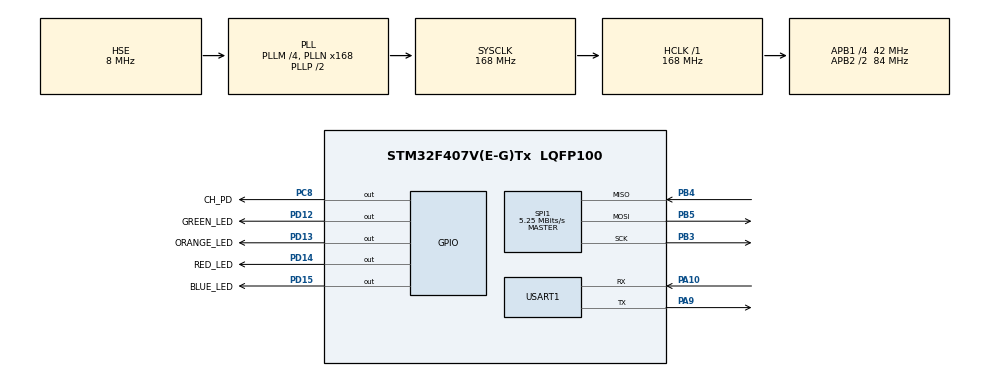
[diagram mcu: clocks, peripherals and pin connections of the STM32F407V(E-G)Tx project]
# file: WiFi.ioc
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Mcu.Family=STM32F4
Mcu.Name=STM32F407V(E-G)Tx
Mcu.Package=LQFP100
NVIC.PriorityGroup=NVIC_PRIORITYGROUP_4
NVIC.SPI1_IRQn=true\:0\:0\:false\:false\:true\:true\:true
NVIC.USART1_IRQn=true\:0\:0\:false\:false\:true\:true\:true
PA10.Mode=Asynchronous
PA10.Signal=USART1_RX
PA9.Mode=Asynchronous
PA9.Signal=USART1_TX
PB3.Mode=Full_Duplex_Master
PB3.Signal=SPI1_SCK
PB4.Mode=Full_Duplex_Master
PB4.Signal=SPI1_MISO
PB5.Mode=Full_Duplex_Master
PB5.Signal=SPI1_MOSI
PC8.GPIO_Label=CH_PD
PC8.PinState=GPIO_PIN_SET
PC8.Signal=GPIO_Output
PD12.GPIO_Label=GREEN_LED
PD12.Signal=GPIO_Output
PD13.GPIO_Label=ORANGE_LED
PD13.Signal=GPIO_Output
PD14.GPIO_Label=RED_LED
PD14.Signal=GPIO_Output
PD15.GPIO_Label=BLUE_LED
PD15.PinState=GPIO_PIN_SET
PD15.Signal=GPIO_Output
PH0-OSC_IN.Mode=HSE-External-Oscillator
PH0-OSC_IN.Signal=RCC_OSC_IN
PH1-OSC_OUT.Mode=HSE-External-Oscillator
PH1-OSC_OUT.Signal=RCC_OSC_OUT
ProjectManager.HeapSize=0x200
ProjectManager.StackSize=0x400
ProjectManager.TargetToolchain=STM32CubeIDE
RCC.48MHZClocksFreq_Value=84000000
RCC.AHBFreq_Value=168000000
RCC.APB1CLKDivider=RCC_HCLK_DIV4
RCC.APB1Freq_Value=42000000
RCC.APB1TimFreq_Value=84000000
RCC.APB2CLKDivider=RCC_HCLK_DIV2
RCC.APB2Freq_Value=84000000
RCC.APB2TimFreq_Value=168000000
RCC.CortexFreq_Value=168000000
RCC.HCLKFreq_Value=168000000
RCC.HSE_VALUE=8000000
RCC.HSI_VALUE=16000000
RCC.LSE_VALUE=32768
RCC.PLLM=4
RCC.PLLN=168
RCC.PLLSourceVirtual=RCC_PLLSOURCE_HSE
RCC.SYSCLKFreq_VALUE=168000000
RCC.SYSCLKSource=RCC_SYSCLKSOURCE_PLLCLK
RCC.VCOOutputFreq_Value=336000000
SPI1.BaudRatePrescaler=SPI_BAUDRATEPRESCALER_16
SPI1.CalculateBaudRate=5.25 MBits/s
SPI1.Direction=SPI_DIRECTION_2LINES
SPI1.Mode=SPI_MODE_MASTER
SPI1.VirtualType=VM_MASTER
USART1.VirtualMode=VM_ASYNC
board=custom

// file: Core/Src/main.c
/* USER CODE BEGIN Header */
/**
  ******************************************************************************
  * @file           : main.c
  * @brief          : Main program body
  ******************************************************************************
  * @attention
  *
  * <h2><center>&copy; Copyright (c) 2020 STMicroelectronics.
  * All rights reserved.</center></h2>
  *
  * This software component is licensed by ST under BSD 3-Clause license,
  * the "License"; You may not use this file except in compliance with the
  * License. You may obtain a copy of the License at:
  *                        opensource.org/licenses/BSD-3-Clause
  *
  ******************************************************************************
  */
/* USER CODE END Header */

#include "main.h"

/* USER CODE BEGIN Includes */
#include "ff.h"
#include "string.h"
/* USER CODE END Includes */

SPI_HandleTypeDef hspi1;

UART_HandleTypeDef huart1;

/* USER CODE BEGIN PV */
char esp_recieve [1024];
uint16_t recieve_lenght = 0;
/* USER CODE END PV */

void SystemClock_Config(void);
static void MX_GPIO_Init(void);
static void MX_USART1_UART_Init(void);
static void MX_SPI1_Init(void);
/* USER CODE BEGIN PFP */
void HAL_UART_RxCpltCallback(UART_HandleTypeDef * huart)
{
	if(huart->Instance == USART1)
	{
		//TODO obsługa odebranych wiadomości
	}
}

/* USER CODE END PFP */

/* USER CODE BEGIN 0 */
//Wysyłanie wiadomości do modułu ESP poprzez interfejs UART
void send_message(UART_HandleTypeDef * huart, char * message)
{
	HAL_UART_Transmit_IT(huart, message, 100);
	HAL_UART_Transmit_IT(huart, "\r\n", 100);

}
void read_message (UART_HandleTypeDef * huart, char * buffer, uint16_t buffer_size)
{
	//TODO funkcja odbierająca linię tekstu
}
uint8_t esp_send_cmd(UART_HandleTypeDef * huart, char * command)
{
 char response[30]; // w response będzie zapisywana odpowiedź od modułu - z przerwania uart
 response[0]= '\0';
 send_message(huart, command);  // wysyłanie wiadomości
 while(strcmp(response, "OK") != 0   // sprawdzenie jaka jest odpowiedź
		 && strcmp(response, "no change") != 0
		 && strcmp(response, "ERROR")!=0)
	 read_message(huart, response, 30);
 if(strcmp(response, "ERROR")==0) return 0;
 else return 1;
}

uint8_t configure_esp()
{
	HAL_Delay(1000);

	if (!esp_send_cmd(&huart1, "AT+CWMODE=1"))
		return 0;
	if (!esp_send_cmd(&huart1, "AT+CWJAP=\"HUAWEI-2.4G-zJ52\",\"...\""))
		return 0;
	if (!esp_send_cmd(&huart1, "AT+CIPMUX=1"))
		return 0;
	if (!esp_send_cmd(&huart1, "AT+CIPSERVER=1,80"))
		return 0;

	return 1;
}
/* USER CODE END 0 */

int main(void)
{
  /* USER CODE BEGIN 1 */
	if (configure_esp())  //Jeśli uruchomi się bez problemów, to włącz obsługę przerwań UART
	{
		HAL_UART_Receive_IT(&huart1, esp_recieve,1);
	}
	else
		HAL_GPIO_WritePin(GPIOD, GPIO_PIN_15, 1);
  /* USER CODE END 1 */

  /* MCU Configuration--------------------------------------------------------*/

  /* Reset of all peripherals, Initializes the Flash interface and the Systick. */
  HAL_Init();

  /* Configure the system clock */
  SystemClock_Config();

  /* Initialize all configured peripherals */
  MX_GPIO_Init();
  MX_USART1_UART_Init();
  MX_SPI1_Init();

  /* Infinite loop */
  while (1)
  {

    /* USER CODE BEGIN 3 */
	  //HAL_GPIO_WritePin(GPIOD, GPIO_PIN_12, 1);
  }
  /* USER CODE END 3 */
}

void SystemClock_Config(void)
{
  RCC_OscInitTypeDef RCC_OscInitStruct = {0};
  RCC_ClkInitTypeDef RCC_ClkInitStruct = {0};

  /** Configure the main internal regulator output voltage
  */
  __HAL_RCC_PWR_CLK_ENABLE();
  __HAL_PWR_VOLTAGESCALING_CONFIG(PWR_REGULATOR_VOLTAGE_SCALE1);
  /** Initializes the CPU, AHB and APB busses clocks
  */
  RCC_OscInitStruct.OscillatorType = RCC_OSCILLATORTYPE_HSE;
  RCC_OscInitStruct.HSEState = RCC_HSE_ON;
  RCC_OscInitStruct.PLL.PLLState = RCC_PLL_ON;
  RCC_OscInitStruct.PLL.PLLSource = RCC_PLLSOURCE_HSE;
  RCC_OscInitStruct.PLL.PLLM = 4;
  RCC_OscInitStruct.PLL.PLLN = 168;
  RCC_OscInitStruct.PLL.PLLP = RCC_PLLP_DIV2;
  RCC_OscInitStruct.PLL.PLLQ = 4;
  if (HAL_RCC_OscConfig(&RCC_OscInitStruct) != HAL_OK)
  {
    Error_Handler();
  }
  /** Initializes the CPU, AHB and APB busses clocks
  */
  RCC_ClkInitStruct.ClockType = RCC_CLOCKTYPE_HCLK|RCC_CLOCKTYPE_SYSCLK
                              |RCC_CLOCKTYPE_PCLK1|RCC_CLOCKTYPE_PCLK2;
  RCC_ClkInitStruct.SYSCLKSource = RCC_SYSCLKSOURCE_PLLCLK;
  RCC_ClkInitStruct.AHBCLKDivider = RCC_SYSCLK_DIV1;
  RCC_ClkInitStruct.APB1CLKDivider = RCC_HCLK_DIV4;
  RCC_ClkInitStruct.APB2CLKDivider = RCC_HCLK_DIV2;

  if (HAL_RCC_ClockConfig(&RCC_ClkInitStruct, FLASH_LATENCY_5) != HAL_OK)
  {
    Error_Handler();
  }
}

static void MX_SPI1_Init(void)
{

  /* SPI1 parameter configuration*/
  hspi1.Instance = SPI1;
  hspi1.Init.Mode = SPI_MODE_MASTER;
  hspi1.Init.Direction = SPI_DIRECTION_2LINES;
  hspi1.Init.DataSize = SPI_DATASIZE_8BIT;
  hspi1.Init.CLKPolarity = SPI_POLARITY_LOW;
  hspi1.Init.CLKPhase = SPI_PHASE_1EDGE;
  hspi1.Init.NSS = SPI_NSS_SOFT;
  hspi1.Init.BaudRatePrescaler = SPI_BAUDRATEPRESCALER_16;
  hspi1.Init.FirstBit = SPI_FIRSTBIT_MSB;
  hspi1.Init.TIMode = SPI_TIMODE_DISABLE;
  hspi1.Init.CRCCalculation = SPI_CRCCALCULATION_DISABLE;
  hspi1.Init.CRCPolynomial = 10;
  if (HAL_SPI_Init(&hspi1) != HAL_OK)
  {
    Error_Handler();
  }

}

static void MX_USART1_UART_Init(void)
{

  huart1.Instance = USART1;
  huart1.Init.BaudRate = 115200;
  huart1.Init.WordLength = UART_WORDLENGTH_8B;
  huart1.Init.StopBits = UART_STOPBITS_1;
  huart1.Init.Parity = UART_PARITY_NONE;
  huart1.Init.Mode = UART_MODE_TX_RX;
  huart1.Init.HwFlowCtl = UART_HWCONTROL_NONE;
  huart1.Init.OverSampling = UART_OVERSAMPLING_16;
  if (HAL_UART_Init(&huart1) != HAL_OK)
  {
    Error_Handler();
  }

}

static void MX_GPIO_Init(void)
{
  GPIO_InitTypeDef GPIO_InitStruct = {0};

  /* GPIO Ports Clock Enable */
  __HAL_RCC_GPIOH_CLK_ENABLE();
  __HAL_RCC_GPIOD_CLK_ENABLE();
  __HAL_RCC_GPIOC_CLK_ENABLE();
  __HAL_RCC_GPIOA_CLK_ENABLE();
  __HAL_RCC_GPIOB_CLK_ENABLE();

  /*Configure GPIO pin Output Level */
  HAL_GPIO_WritePin(GPIOD, GREEN_LED_Pin|ORANGE_LED_Pin|RED_LED_Pin, GPIO_PIN_RESET);

  /*Configure GPIO pin Output Level */
  HAL_GPIO_WritePin(BLUE_LED_GPIO_Port, BLUE_LED_Pin, GPIO_PIN_SET);

  /*Configure GPIO pin Output Level */
  HAL_GPIO_WritePin(CH_PD_GPIO_Port, CH_PD_Pin, GPIO_PIN_SET);

  /*Configure GPIO pins : GREEN_LED_Pin ORANGE_LED_Pin RED_LED_Pin BLUE_LED_Pin */
  GPIO_InitStruct.Pin = GREEN_LED_Pin|ORANGE_LED_Pin|RED_LED_Pin|BLUE_LED_Pin;
  GPIO_InitStruct.Mode = GPIO_MODE_OUTPUT_PP;
  GPIO_InitStruct.Pull = GPIO_NOPULL;
  GPIO_InitStruct.Speed = GPIO_SPEED_FREQ_LOW;
  HAL_GPIO_Init(GPIOD, &GPIO_InitStruct);

  /*Configure GPIO pin : CH_PD_Pin */
  GPIO_InitStruct.Pin = CH_PD_Pin;
  GPIO_InitStruct.Mode = GPIO_MODE_OUTPUT_PP;
  GPIO_InitStruct.Pull = GPIO_NOPULL;
  GPIO_InitStruct.Speed = GPIO_SPEED_FREQ_LOW;
  HAL_GPIO_Init(CH_PD_GPIO_Port, &GPIO_InitStruct);

}

void Error_Handler(void)
{
}

/************************ (C) COPYRIGHT STMicroelectronics *****END OF FILE****/
